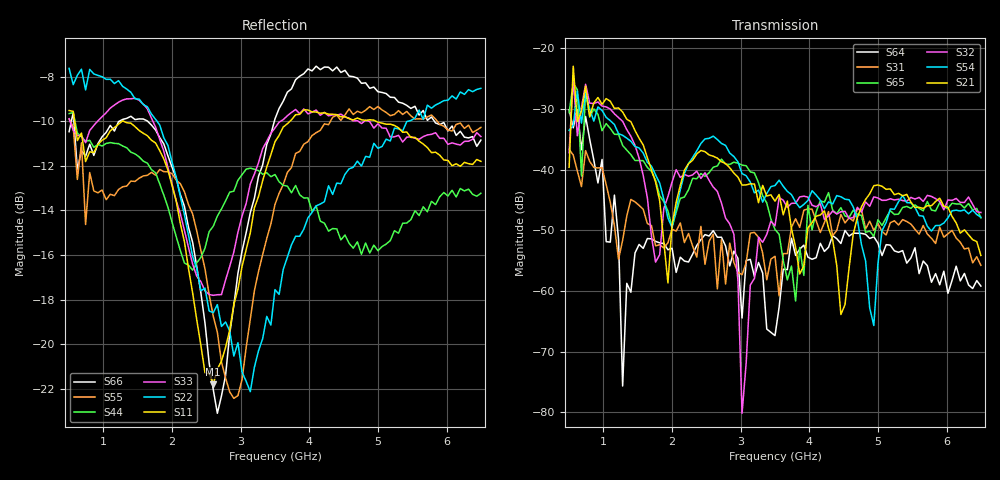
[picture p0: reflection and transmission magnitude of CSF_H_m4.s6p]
!Keysight Technologies,M9804A,MY58100912,A.14.10.03
!Date: Thursday, April 27, 2023 10:28:33
!Correction: S11(C  6-Port  )
!S12(C  6-Port  )
!S13(C  6-Port  )
!S14(C  6-Port  )
!S15(C  6-Port  )
!S16(C  6-Port  )
!S21(C  6-Port  )
!S22(C  6-Port  )
!S23(C  6-Port  )
!S24(C  6-Port  )
!S25(C  6-Port  )
!S26(C  6-Port  )
!S31(C  6-Port  )
!S32(C  6-Port  )
!S33(C  6-Port  )
!S34(C  6-Port  )
!S35(C  6-Port  )
!S36(C  6-Port  )
!S41(C  6-Port  )
!S42(C  6-Port  )
!S43(C  6-Port  )
!S44(C  6-Port  )
!S45(C  6-Port  )
!S46(C  6-Port  )
!S51(C  6-Port  )
!S52(C  6-Port  )
!S53(C  6-Port  )
!S54(C  6-Port  )
!S55(C  6-Port  )
!S56(C  6-Port  )
!S61(C  6-Port  )
!S62(C  6-Port  )
!S63(C  6-Port  )
!S64(C  6-Port  )
!S65(C  6-Port  )
!S66(C  6-Port  )
!S6P File: Measurement: :
# Hz S  RI  R 50
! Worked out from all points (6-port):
!   101 points, 500 MHz to 6.5 GHz, reference 50 ohm
!   strongest paths, dB at 500 MHz, 2 GHz, 3.5 GHz, 5 GHz, 6.5 GHz:
!     S21: -39.6, -49.1, -45.2, -42.5, -54.1
!     S54: -33.5, -49.5, -42.6, -55.5, -47.8
!     S32: -37.2, -42.0, -49.3, -44.7, -47.0
!     S65: -30.6, -49.4, -49.9, -48.2, -47.9
!     S31: -36.6, -49.8, -54.3, -48.9, -55.8
!     S64: -30.1, -53.0, -67.3, -52.1, -59.2
!   lowest |S11| = -21.8 dB at 2.6 GHz (marker M1), VSWR 1.18, Z = 42.7 + j1.91 ohm
!   |S11| at or under -10 dB: 580.4 MHz to 1.271 GHz (690.5 MHz wide, 74.6 % of centre); 1.295 GHz to 3.718 GHz (2.422 GHz wide, 96.6 % of centre); 4.973 GHz to end of sweep
